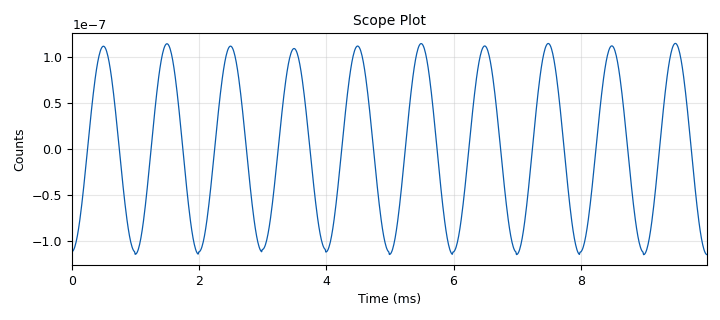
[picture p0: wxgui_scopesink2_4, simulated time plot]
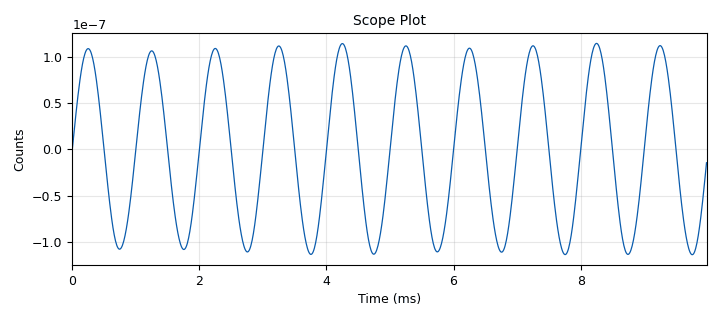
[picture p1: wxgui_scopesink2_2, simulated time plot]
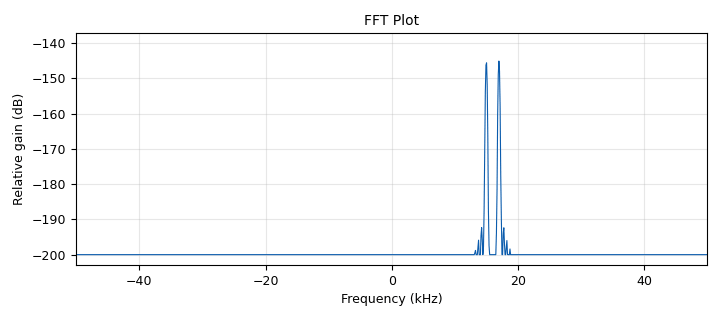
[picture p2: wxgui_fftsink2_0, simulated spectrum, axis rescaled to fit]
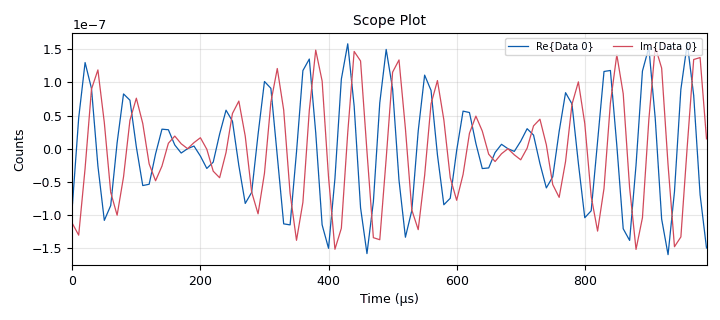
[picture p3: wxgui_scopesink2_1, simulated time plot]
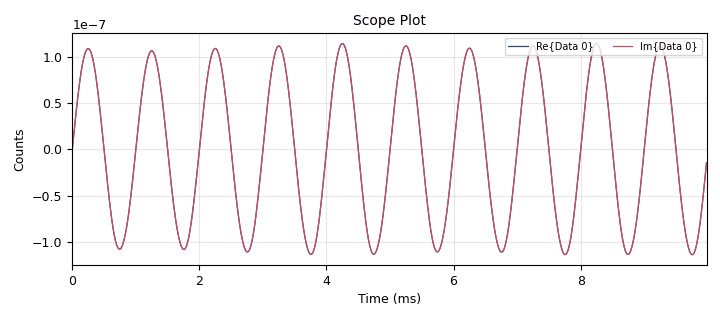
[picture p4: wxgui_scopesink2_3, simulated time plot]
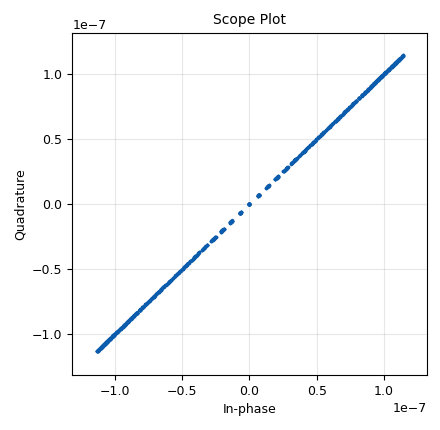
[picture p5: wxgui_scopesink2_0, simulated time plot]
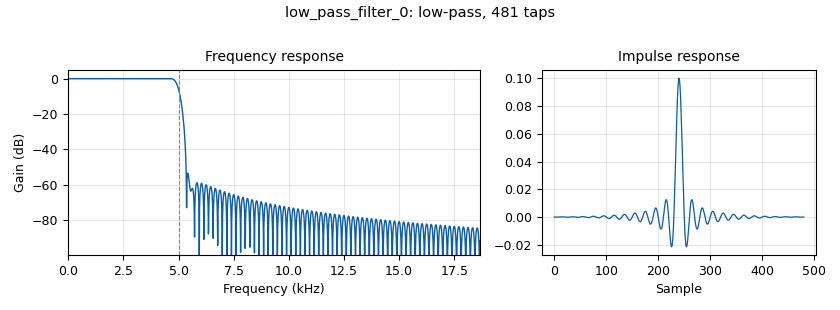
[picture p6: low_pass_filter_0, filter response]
<?xml version='1.0' encoding='utf-8'?>
<flow_graph>
<block>
<key>options</key>
<param><key>id</key><value>BPSK_TXRX_COMPLEX</value></param>
<param><key>title</key><value>Complex BPSK Transmitter/Receiver</value></param>
<param><key>author</key><value>ELEC350</value></param>
<param><key>generate_options</key><value>wx_gui</value></param>
<param><key>category</key><value>Custom</value></param>
</block>
<block>
<key>variable</key>
<param><key>id</key><value>samp_rate</value></param>
<param><key>value</key><value>100000</value></param>
</block>
<block>
<key>note</key>
<param><key>id</key><value>note_0</value></param>
<param><key>note</key><value>Transmitter</value></param>
</block>
<block>
<key>variable_slider</key>
<param><key>id</key><value>offset</value></param>
<param><key>label</key><value>Frequency Offset</value></param>
<param><key>value</key><value>0</value></param>
<param><key>min</key><value>-2</value></param>
<param><key>max</key><value>2</value></param>
<param><key>num_steps</key><value>100</value></param>
<param><key>style</key><value>wx.SL_HORIZONTAL</value></param>
<param><key>converver</key><value>float_converter</value></param>
</block>
<block>
<key>variable_slider</key>
<param><key>id</key><value>cutoff_freq0</value></param>
<param><key>label</key><value></value></param>
<param><key>value</key><value>5000</value></param>
<param><key>min</key><value>1000</value></param>
<param><key>max</key><value>50000</value></param>
<param><key>num_steps</key><value>100</value></param>
<param><key>style</key><value>wx.SL_HORIZONTAL</value></param>
<param><key>converver</key><value>float_converter</value></param>
</block>
<block>
<key>variable_slider</key>
<param><key>id</key><value>degree</value></param>
<param><key>label</key><value></value></param>
<param><key>value</key><value>5</value></param>
<param><key>min</key><value>0</value></param>
<param><key>max</key><value>32</value></param>
<param><key>num_steps</key><value>32</value></param>
<param><key>style</key><value>wx.SL_HORIZONTAL</value></param>
<param><key>converver</key><value>float_converter</value></param>
</block>
<block>
<key>variable_slider</key>
<param><key>id</key><value>freq_offset</value></param>
<param><key>label</key><value></value></param>
<param><key>value</key><value>-16000</value></param>
<param><key>min</key><value>-16200</value></param>
<param><key>max</key><value>-15800</value></param>
<param><key>num_steps</key><value>31</value></param>
<param><key>style</key><value>wx.SL_HORIZONTAL</value></param>
<param><key>converver</key><value>float_converter</value></param>
</block>
<block>
<key>analog_sig_source_x</key>
<param><key>id</key><value>analog_sig_source_x_0</value></param>
<param><key>type</key><value>complex</value></param>
<param><key>samp_rate</key><value>samp_rate</value></param>
<param><key>waveform</key><value>analog.GR_COS_WAVE</value></param>
<param><key>freq</key><value>16000+offset</value></param>
<param><key>amp</key><value>1</value></param>
<param><key>offset</key><value>0</value></param>
</block>
<block>
<key>notebook</key>
<param><key>id</key><value>notebook_0</value></param>
<param><key>style</key><value>wx.NB_TOP</value></param>
<param><key>labels</key><value>['Transmitted Waveform', 'Transmitted Spectrum', 'Received Constellation', 'GLFSR', 'Receiver Eye Diagram', 'RRCF Output']</value></param>
</block>
<block>
<key>digital_glfsr_source_x</key>
<param><key>id</key><value>digital_glfsr_source_x_0</value></param>
<param><key>type</key><value>float</value></param>
<param><key>degree</key><value>15</value></param>
<param><key>repeat</key><value>True</value></param>
<param><key>mask</key><value>0</value></param>
<param><key>seed</key><value>423</value></param>
</block>
<block>
<key>root_raised_cosine_filter</key>
<param><key>id</key><value>root_raised_cosine_filter_0</value></param>
<param><key>type</key><value>interp_fir_filter_fff</value></param>
<param><key>interp</key><value>100</value></param>
<param><key>gain</key><value>100</value></param>
<param><key>samp_rate</key><value>samp_rate</value></param>
<param><key>sym_rate</key><value>1000</value></param>
<param><key>alpha</key><value>1</value></param>
<param><key>ntaps</key><value>11*samp_rate</value></param>
</block>
<block>
<key>blocks_throttle</key>
<param><key>id</key><value>blocks_throttle_0</value></param>
<param><key>type</key><value>complex</value></param>
<param><key>samples_per_second</key><value>samp_rate</value></param>
</block>
<block>
<key>blocks_multiply_xx</key>
<param><key>id</key><value>blocks_multiply_xx_0</value></param>
<param><key>type</key><value>complex</value></param>
</block>
<block>
<key>low_pass_filter</key>
<param><key>id</key><value>low_pass_filter_0</value></param>
<param><key>type</key><value>fir_filter_fff</value></param>
<param><key>decim</key><value>1</value></param>
<param><key>gain</key><value>1</value></param>
<param><key>samp_rate</key><value>samp_rate</value></param>
<param><key>cutoff_freq</key><value>cutoff_freq0</value></param>
<param><key>width</key><value>cutoff_freq0/10</value></param>
<param><key>win</key><value>firdes.WIN_HAMMING</value></param>
</block>
<block>
<key>wxgui_scopesink2</key>
<param><key>id</key><value>wxgui_scopesink2_4</value></param>
<param><key>type</key><value>float</value></param>
<param><key>title</key><value>Scope Plot</value></param>
<param><key>samp_rate</key><value>samp_rate</value></param>
<param><key>v_scale</key><value>0</value></param>
<param><key>v_offset</key><value>0</value></param>
<param><key>t_scale</key><value>0</value></param>
<param><key>ac_couple</key><value>False</value></param>
<param><key>xy_mode</key><value>False</value></param>
<param><key>num_inputs</key><value>1</value></param>
<param><key>notebook</key><value>notebook_0,5</value></param>
<param><key>trig_mode</key><value>wxgui.TRIG_MODE_FREE</value></param>
<param><key>y_axis_label</key><value>Counts</value></param>
</block>
<block>
<key>wxgui_scopesink2</key>
<param><key>id</key><value>wxgui_scopesink2_2</value></param>
<param><key>type</key><value>float</value></param>
<param><key>title</key><value>Scope Plot</value></param>
<param><key>samp_rate</key><value>samp_rate</value></param>
<param><key>v_scale</key><value>0</value></param>
<param><key>v_offset</key><value>0</value></param>
<param><key>t_scale</key><value>0</value></param>
<param><key>ac_couple</key><value>False</value></param>
<param><key>xy_mode</key><value>False</value></param>
<param><key>num_inputs</key><value>1</value></param>
<param><key>notebook</key><value>notebook_0, 3</value></param>
<param><key>trig_mode</key><value>wxgui.TRIG_MODE_AUTO</value></param>
<param><key>y_axis_label</key><value>Counts</value></param>
</block>
<block>
<key>blocks_float_to_complex</key>
<param><key>id</key><value>blocks_float_to_complex_0</value></param>
</block>
<block>
<key>wxgui_fftsink2</key>
<param><key>id</key><value>wxgui_fftsink2_0</value></param>
<param><key>type</key><value>complex</value></param>
<param><key>title</key><value>FFT Plot</value></param>
<param><key>samp_rate</key><value>samp_rate</value></param>
<param><key>baseband_freq</key><value>0</value></param>
<param><key>y_per_div</key><value>5</value></param>
<param><key>y_divs</key><value>10</value></param>
<param><key>ref_level</key><value>10</value></param>
<param><key>ref_scale</key><value>2.0</value></param>
<param><key>fft_size</key><value>1024</value></param>
<param><key>fft_rate</key><value>30</value></param>
<param><key>peak_hold</key><value>False</value></param>
<param><key>average</key><value>False</value></param>
<param><key>avg_alpha</key><value>0</value></param>
<param><key>win</key><value>None</value></param>
<param><key>notebook</key><value>notebook_0,1</value></param>
<param><key>freqvar</key><value>None</value></param>
</block>
<block>
<key>wxgui_scopesink2</key>
<param><key>id</key><value>wxgui_scopesink2_1</value></param>
<param><key>type</key><value>complex</value></param>
<param><key>title</key><value>Scope Plot</value></param>
<param><key>samp_rate</key><value>samp_rate</value></param>
<param><key>v_scale</key><value>0.5</value></param>
<param><key>v_offset</key><value>0</value></param>
<param><key>t_scale</key><value>0.0001</value></param>
<param><key>ac_couple</key><value>False</value></param>
<param><key>xy_mode</key><value>False</value></param>
<param><key>num_inputs</key><value>1</value></param>
<param><key>notebook</key><value>notebook_0,0</value></param>
<param><key>trig_mode</key><value>wxgui.TRIG_MODE_AUTO</value></param>
<param><key>y_axis_label</key><value>Counts</value></param>
</block>
<block>
<key>virtual_sink</key>
<param><key>id</key><value>virtual_sink_0</value></param>
<param><key>stream_id</key><value>channel</value></param>
</block>
<block>
<key>blocks_multiply_xx</key>
<param><key>id</key><value>blocks_multiply_xx_1</value></param>
<param><key>type</key><value>complex</value></param>
</block>
<block>
<key>analog_sig_source_x</key>
<param><key>id</key><value>analog_sig_source_x_2</value></param>
<param><key>type</key><value>complex</value></param>
<param><key>samp_rate</key><value>samp_rate</value></param>
<param><key>waveform</key><value>analog.GR_COS_WAVE</value></param>
<param><key>freq</key><value>freq_offset</value></param>
<param><key>amp</key><value>1</value></param>
<param><key>offset</key><value>0</value></param>
</block>
<block>
<key>wxgui_scopesink2</key>
<param><key>id</key><value>wxgui_scopesink2_3</value></param>
<param><key>type</key><value>complex</value></param>
<param><key>title</key><value>Scope Plot</value></param>
<param><key>samp_rate</key><value>samp_rate</value></param>
<param><key>v_scale</key><value>0</value></param>
<param><key>v_offset</key><value>0</value></param>
<param><key>t_scale</key><value>0</value></param>
<param><key>ac_couple</key><value>False</value></param>
<param><key>xy_mode</key><value>False</value></param>
<param><key>num_inputs</key><value>1</value></param>
<param><key>notebook</key><value>notebook_0, 4</value></param>
<param><key>trig_mode</key><value>wxgui.TRIG_MODE_AUTO</value></param>
<param><key>y_axis_label</key><value>Counts</value></param>
</block>
<block>
<key>virtual_source</key>
<param><key>id</key><value>virtual_source_0</value></param>
<param><key>stream_id</key><value>channel</value></param>
</block>
<block>
<key>note</key>
<param><key>id</key><value>note_1</value></param>
<param><key>note</key><value>Receiver</value></param>
</block>
<block>
<key>wxgui_scopesink2</key>
<param><key>id</key><value>wxgui_scopesink2_0</value></param>
<param><key>type</key><value>complex</value></param>
<param><key>title</key><value>Scope Plot</value></param>
<param><key>samp_rate</key><value>samp_rate</value></param>
<param><key>v_scale</key><value>0.5</value></param>
<param><key>v_offset</key><value>0</value></param>
<param><key>t_scale</key><value>0</value></param>
<param><key>ac_couple</key><value>False</value></param>
<param><key>xy_mode</key><value>True</value></param>
<param><key>num_inputs</key><value>1</value></param>
<param><key>notebook</key><value>notebook_0,2</value></param>
<param><key>trig_mode</key><value>wxgui.TRIG_MODE_AUTO</value></param>
<param><key>y_axis_label</key><value>Counts</value></param>
</block>
<connection><source_block_id>blocks_multiply_xx_0</source_block_id><sink_block_id>virtual_sink_0</sink_block_id><source_key>0</source_key><sink_key>0</sink_key></connection>
<connection><source_block_id>blocks_multiply_xx_0</source_block_id><sink_block_id>wxgui_fftsink2_0</sink_block_id><source_key>0</source_key><sink_key>0</sink_key></connection>
<connection><source_block_id>blocks_multiply_xx_0</source_block_id><sink_block_id>wxgui_scopesink2_1</sink_block_id><source_key>0</source_key><sink_key>0</sink_key></connection>
<connection><source_block_id>blocks_float_to_complex_0</source_block_id><sink_block_id>blocks_multiply_xx_0</sink_block_id><source_key>0</source_key><sink_key>1</sink_key></connection>
<connection><source_block_id>blocks_throttle_0</source_block_id><sink_block_id>blocks_multiply_xx_0</sink_block_id><source_key>0</source_key><sink_key>0</sink_key></connection>
<connection><source_block_id>analog_sig_source_x_0</source_block_id><sink_block_id>blocks_throttle_0</sink_block_id><source_key>0</source_key><sink_key>0</sink_key></connection>
<connection><source_block_id>low_pass_filter_0</source_block_id><sink_block_id>blocks_float_to_complex_0</sink_block_id><source_key>0</source_key><sink_key>1</sink_key></connection>
<connection><source_block_id>low_pass_filter_0</source_block_id><sink_block_id>blocks_float_to_complex_0</sink_block_id><source_key>0</source_key><sink_key>0</sink_key></connection>
<connection><source_block_id>digital_glfsr_source_x_0</source_block_id><sink_block_id>root_raised_cosine_filter_0</sink_block_id><source_key>0</source_key><sink_key>0</sink_key></connection>
<connection><source_block_id>root_raised_cosine_filter_0</source_block_id><sink_block_id>low_pass_filter_0</sink_block_id><source_key>0</source_key><sink_key>0</sink_key></connection>
<connection><source_block_id>low_pass_filter_0</source_block_id><sink_block_id>wxgui_scopesink2_2</sink_block_id><source_key>0</source_key><sink_key>0</sink_key></connection>
<connection><source_block_id>blocks_multiply_xx_1</source_block_id><sink_block_id>wxgui_scopesink2_3</sink_block_id><source_key>0</source_key><sink_key>0</sink_key></connection>
<connection><source_block_id>analog_sig_source_x_2</source_block_id><sink_block_id>blocks_multiply_xx_1</sink_block_id><source_key>0</source_key><sink_key>1</sink_key></connection>
<connection><source_block_id>blocks_multiply_xx_1</source_block_id><sink_block_id>wxgui_scopesink2_0</sink_block_id><source_key>0</source_key><sink_key>0</sink_key></connection>
<connection><source_block_id>virtual_source_0</source_block_id><sink_block_id>blocks_multiply_xx_1</sink_block_id><source_key>0</source_key><sink_key>0</sink_key></connection>
<connection><source_block_id>root_raised_cosine_filter_0</source_block_id><sink_block_id>wxgui_scopesink2_4</sink_block_id><source_key>0</source_key><sink_key>0</sink_key></connection>
</flow_graph>
